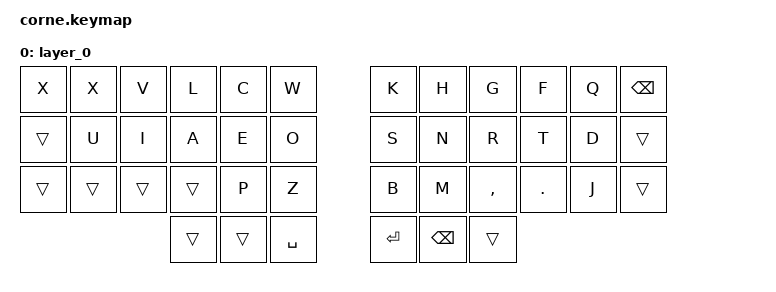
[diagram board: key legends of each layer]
/*
 * Copyright (c) 2020 The ZMK Contributors
 *
 * SPDX-License-Identifier: MIT
 */

#include <behaviors.dtsi>
#include <dt-bindings/zmk/keys.h>

/ {
    keymap {
        compatible = "zmk,keymap";

        layer_0 {
            bindings = <
&kp X   &kp X   &kp V   &kp L   &kp C   &kp W        &kp K    &kp H     &kp G      &kp F    &kp Q  &kp BSPC
&trans  &kp U   &kp I   &kp A   &kp E   &kp O        &kp S    &kp N     &kp R      &kp T    &kp D  &trans
&trans  &trans  &trans  &trans  &kp P   &kp Z        &kp B    &kp M     &kp COMMA  &kp DOT  &kp J  &trans
                        &trans  &trans  &kp SPACE    &kp RET  &kp BSPC  &trans
            >;
        };
    };
};
